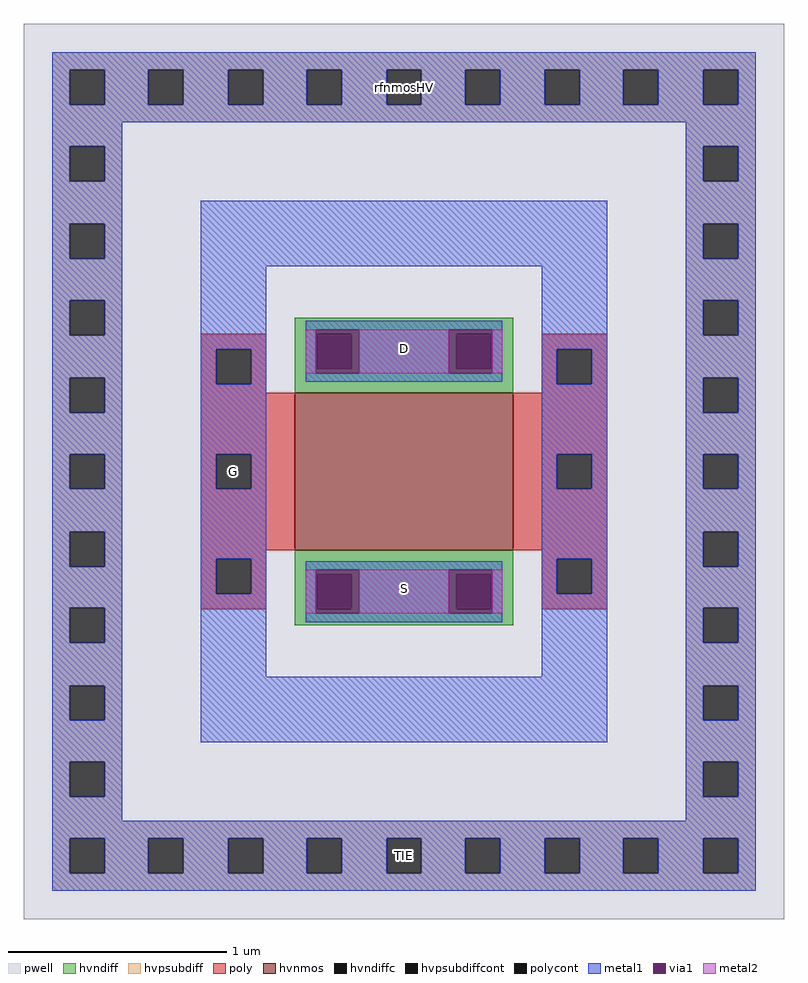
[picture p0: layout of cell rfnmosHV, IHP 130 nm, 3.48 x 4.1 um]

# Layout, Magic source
magic
tech ihp-sg13g2
magscale 1 2
<< pwell >>
rect 28 28 724 848
<< hvnmos >>
rect 276 366 476 510
<< hvndiff >>
rect 276 564 476 579
rect 276 532 296 564
rect 328 532 424 564
rect 456 532 476 564
rect 276 510 476 532
rect 276 344 476 366
rect 276 312 296 344
rect 328 312 424 344
rect 456 312 476 344
rect 276 297 476 312
<< hvndiffc >>
rect 296 532 328 564
rect 424 532 456 564
rect 296 312 328 344
rect 424 312 456 344
<< hvpsubdiff >>
rect 54 806 698 822
rect 54 774 70 806
rect 102 774 142 806
rect 174 774 215 806
rect 247 774 287 806
rect 319 774 360 806
rect 392 774 432 806
rect 464 774 505 806
rect 537 774 577 806
rect 609 774 650 806
rect 682 774 698 806
rect 54 758 698 774
rect 54 736 118 758
rect 54 704 70 736
rect 102 704 118 736
rect 54 665 118 704
rect 54 633 70 665
rect 102 633 118 665
rect 54 595 118 633
rect 54 563 70 595
rect 102 563 118 595
rect 634 736 698 758
rect 634 704 650 736
rect 682 704 698 736
rect 634 665 698 704
rect 634 633 650 665
rect 682 633 698 665
rect 634 595 698 633
rect 54 524 118 563
rect 54 492 70 524
rect 102 492 118 524
rect 54 454 118 492
rect 54 422 70 454
rect 102 422 118 454
rect 54 383 118 422
rect 54 351 70 383
rect 102 351 118 383
rect 54 313 118 351
rect 54 281 70 313
rect 102 281 118 313
rect 634 563 650 595
rect 682 563 698 595
rect 634 524 698 563
rect 634 492 650 524
rect 682 492 698 524
rect 634 454 698 492
rect 634 422 650 454
rect 682 422 698 454
rect 634 383 698 422
rect 634 351 650 383
rect 682 351 698 383
rect 634 313 698 351
rect 54 242 118 281
rect 54 210 70 242
rect 102 210 118 242
rect 54 172 118 210
rect 54 140 70 172
rect 102 140 118 172
rect 54 118 118 140
rect 634 281 650 313
rect 682 281 698 313
rect 634 242 698 281
rect 634 210 650 242
rect 682 210 698 242
rect 634 172 698 210
rect 634 140 650 172
rect 682 140 698 172
rect 634 118 698 140
rect 54 102 698 118
rect 54 70 70 102
rect 102 70 142 102
rect 174 70 215 102
rect 247 70 287 102
rect 319 70 360 102
rect 392 70 432 102
rect 464 70 505 102
rect 537 70 577 102
rect 609 70 650 102
rect 682 70 698 102
rect 54 54 698 70
<< hvpsubdiffcont >>
rect 70 774 102 806
rect 142 774 174 806
rect 215 774 247 806
rect 287 774 319 806
rect 360 774 392 806
rect 432 774 464 806
rect 505 774 537 806
rect 577 774 609 806
rect 650 774 682 806
rect 70 704 102 736
rect 70 633 102 665
rect 70 563 102 595
rect 650 704 682 736
rect 650 633 682 665
rect 70 492 102 524
rect 70 422 102 454
rect 70 351 102 383
rect 70 281 102 313
rect 650 563 682 595
rect 650 492 682 524
rect 650 422 682 454
rect 650 351 682 383
rect 70 210 102 242
rect 70 140 102 172
rect 650 281 682 313
rect 650 210 682 242
rect 650 140 682 172
rect 70 70 102 102
rect 142 70 174 102
rect 215 70 247 102
rect 287 70 319 102
rect 360 70 392 102
rect 432 70 464 102
rect 505 70 537 102
rect 577 70 609 102
rect 650 70 682 102
<< poly >>
rect 190 550 250 564
rect 190 518 204 550
rect 236 518 250 550
rect 190 510 250 518
rect 502 550 562 564
rect 502 518 516 550
rect 548 518 562 550
rect 502 510 562 518
rect 190 454 276 510
rect 190 422 204 454
rect 236 422 276 454
rect 190 366 276 422
rect 476 454 562 510
rect 476 422 516 454
rect 548 422 562 454
rect 476 366 562 422
rect 190 358 250 366
rect 190 326 204 358
rect 236 326 250 358
rect 190 312 250 326
rect 502 358 562 366
rect 502 326 516 358
rect 548 326 562 358
rect 502 312 562 326
<< polycont >>
rect 204 518 236 550
rect 516 518 548 550
rect 204 422 236 454
rect 516 422 548 454
rect 204 326 236 358
rect 516 326 548 358
<< metal1 >>
rect 54 806 698 822
rect 54 774 70 806
rect 102 774 142 806
rect 174 774 215 806
rect 247 774 287 806
rect 319 774 360 806
rect 392 774 432 806
rect 464 774 505 806
rect 537 774 577 806
rect 609 774 650 806
rect 682 774 698 806
rect 54 758 698 774
rect 54 736 118 758
rect 54 704 70 736
rect 102 704 118 736
rect 54 665 118 704
rect 634 736 698 758
rect 634 704 650 736
rect 682 704 698 736
rect 54 633 70 665
rect 102 633 118 665
rect 54 595 118 633
rect 54 563 70 595
rect 102 563 118 595
rect 54 524 118 563
rect 54 492 70 524
rect 102 492 118 524
rect 54 454 118 492
rect 54 422 70 454
rect 102 422 118 454
rect 54 383 118 422
rect 54 351 70 383
rect 102 351 118 383
rect 54 313 118 351
rect 54 281 70 313
rect 102 281 118 313
rect 54 242 118 281
rect 54 210 70 242
rect 102 210 118 242
rect 54 172 118 210
rect 190 626 562 686
rect 190 550 250 626
rect 190 518 204 550
rect 236 518 250 550
rect 286 568 466 576
rect 286 528 295 568
rect 335 528 417 568
rect 457 528 466 568
rect 286 520 466 528
rect 502 550 562 626
rect 190 454 250 518
rect 190 422 204 454
rect 236 422 250 454
rect 190 358 250 422
rect 190 326 204 358
rect 236 326 250 358
rect 502 518 516 550
rect 548 518 562 550
rect 502 454 562 518
rect 502 422 516 454
rect 548 422 562 454
rect 502 358 562 422
rect 190 250 250 326
rect 286 348 466 356
rect 286 308 295 348
rect 335 308 417 348
rect 457 308 466 348
rect 286 300 466 308
rect 502 326 516 358
rect 548 326 562 358
rect 502 250 562 326
rect 190 190 562 250
rect 634 665 698 704
rect 634 633 650 665
rect 682 633 698 665
rect 634 595 698 633
rect 634 563 650 595
rect 682 563 698 595
rect 634 524 698 563
rect 634 492 650 524
rect 682 492 698 524
rect 634 454 698 492
rect 634 422 650 454
rect 682 422 698 454
rect 634 383 698 422
rect 634 351 650 383
rect 682 351 698 383
rect 634 313 698 351
rect 634 281 650 313
rect 682 281 698 313
rect 634 242 698 281
rect 634 210 650 242
rect 682 210 698 242
rect 54 140 70 172
rect 102 140 118 172
rect 54 118 118 140
rect 634 172 698 210
rect 634 140 650 172
rect 682 140 698 172
rect 634 118 698 140
rect 54 102 698 118
rect 54 70 70 102
rect 102 70 142 102
rect 174 70 215 102
rect 247 70 287 102
rect 319 70 360 102
rect 392 70 432 102
rect 464 70 505 102
rect 537 70 577 102
rect 609 70 650 102
rect 682 70 698 102
rect 54 54 698 70
<< via1 >>
rect 295 564 335 568
rect 295 532 296 564
rect 296 532 328 564
rect 328 532 335 564
rect 295 528 335 532
rect 417 564 457 568
rect 417 532 424 564
rect 424 532 456 564
rect 456 532 457 564
rect 417 528 457 532
rect 295 344 335 348
rect 295 312 296 344
rect 296 312 328 344
rect 328 312 335 344
rect 295 308 335 312
rect 417 344 457 348
rect 417 312 424 344
rect 424 312 456 344
rect 456 312 457 344
rect 417 308 457 312
<< metal2 >>
rect 286 528 295 568
rect 335 528 417 568
rect 457 528 466 568
rect 286 308 295 348
rect 335 308 417 348
rect 457 308 466 348
<< labels >>
flabel comment s 376 86 376 86 0 FreeSans 320 0 0 0 TIE
flabel comment s 376 790 376 790 0 FreeSans 480 0 0 0 rfnmosHV
flabel comment s 220 438 220 438 0 FreeSans 600 0 0 0 G
flabel comment s 376 551 376 551 0 FreeSans 600 0 0 0 D
flabel comment s 376 331 376 331 0 FreeSans 600 0 0 0 S
<< end >>
